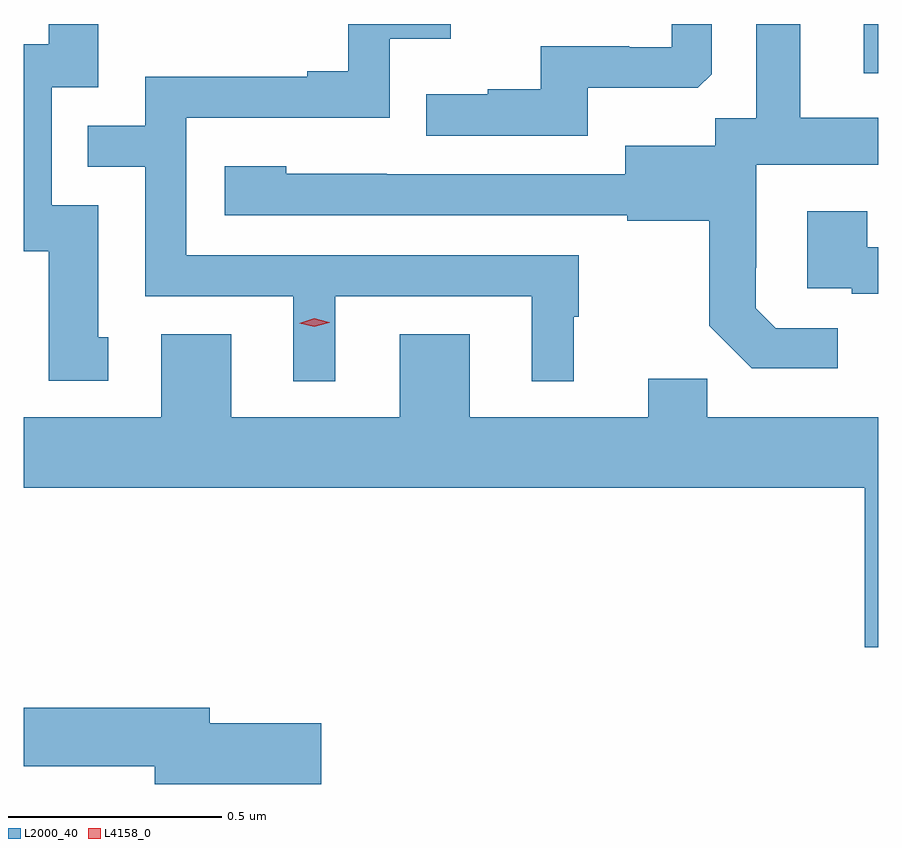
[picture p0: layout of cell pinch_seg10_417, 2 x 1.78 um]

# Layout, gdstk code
import gdstk
lib = gdstk.Library(unit=1e-6, precision=1e-09)
def R(c, l, rs):  # rectangles x0, y0, x1, y1
    for r in rs: c.add(gdstk.rectangle(r[:2], r[2:], *l))
def P(c, l, *ps):  # polygons
    for p in ps: c.add(gdstk.Polygon(p, *l))
L2000_40 = (2000, 40)
L4158_0 = (4158, 0)

pinch_seg10_417 = lib.new_cell('pinch_seg10_417')
R(pinch_seg10_417, L2000_40, [(608.561,1266.654,608.595,1266.769)])
P(pinch_seg10_417, L2000_40, [(606.793,1266.036),(606.769,1266.036),(606.769,1266.345),(606.66,1266.345),(606.66,1266.621),(606.769,1266.621),(606.769,1266.769),(606.653,1266.769),(606.653,1266.722),(606.595,1266.722),(606.595,1266.237),(606.653,1266.237),(606.653,1265.934),(606.793,1265.934)],
  [(607.915,1266.62),(608.173,1266.62),(608.205,1266.651),(608.205,1266.769),(608.112,1266.769),(608.112,1266.714),(608.012,1266.714),(608.012,1266.717),(607.805,1266.717),(607.805,1266.616),(607.681,1266.616),(607.681,1266.604),(607.537,1266.604),(607.537,1266.507),(607.915,1266.507)],
  [(607.324,1266.132),(607.784,1266.132),(607.784,1265.933),(607.882,1265.933),(607.882,1266.084),(607.894,1266.084),(607.894,1266.228),(606.975,1266.228),(606.975,1266.549),(607.452,1266.549),(607.452,1266.734),(607.594,1266.734),(607.594,1266.769),(607.354,1266.769),(607.354,1266.658),(607.259,1266.658),(607.259,1266.645),(606.879,1266.645),(606.879,1266.531),(606.745,1266.531),(606.745,1266.435),(606.879,1266.435),(606.879,1266.132),(607.226,1266.132),(607.226,1265.933),(607.324,1265.933)],
  [(608.5,1266.057),(608.355,1266.057),(608.308,1266.104),(608.308,1266.199),(608.31,1266.199),(608.31,1266.44),(608.595,1266.44),(608.595,1266.55),(608.413,1266.55),(608.413,1266.769),(608.309,1266.769),(608.309,1266.548),(608.214,1266.548),(608.214,1266.484),(608.003,1266.484),(608.003,1266.417),(607.445,1266.417),(607.445,1266.418),(607.209,1266.418),(607.209,1266.436),(607.065,1266.436),(607.065,1266.321),(608.007,1266.321),(608.007,1266.309),(608.199,1266.309),(608.199,1266.063),(608.299,1265.963),(608.5,1265.963)],
  [(608.595,1266.246),(608.569,1266.246),(608.569,1266.331),(608.429,1266.331),(608.429,1266.15),(608.533,1266.15),(608.533,1266.138),(608.595,1266.138)],
  [(608.595,1265.848),(608.195,1265.848),(608.195,1265.939),(608.057,1265.939),(608.057,1265.848),(607.639,1265.848),(607.639,1266.043),(607.475,1266.043),(607.475,1265.848),(607.081,1265.848),(607.081,1266.043),(606.917,1266.043),(606.917,1265.848),(606.595,1265.848),(606.595,1265.684),(608.564,1265.684),(608.564,1265.31),(608.595,1265.31)],
  [(607.291,1265.132),(607.03,1265.132),(607.03,1265.168),(606.595,1265.168),(606.595,1265.032),(606.902,1265.032),(606.902,1264.99),(607.291,1264.99)])
P(pinch_seg10_417, L4158_0, [(607.275,1266.06),(607.24,1266.068),(607.239,1266.068),(607.24,1266.069),(607.275,1266.08),(607.31,1266.071),(607.311,1266.071),(607.31,1266.07)])

lib.write_gds('pinch_seg10_417.gds')
